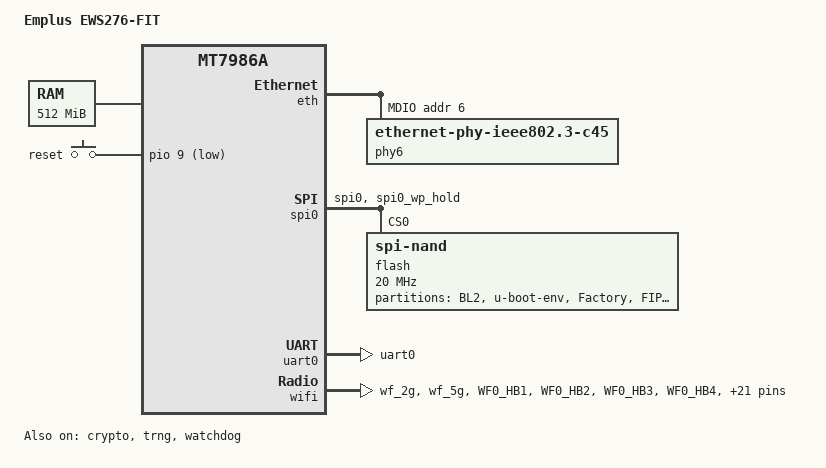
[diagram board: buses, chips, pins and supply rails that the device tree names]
// SPDX-License-Identifier: (GPL-2.0 OR MIT)

/dts-v1/;
#include <dt-bindings/gpio/gpio.h>
#include <dt-bindings/input/input.h>
#include <dt-bindings/pinctrl/mt65xx.h>
#include "mt7986a.dtsi"

/ {
	model = "Emplus EWS276-FIT";
	compatible = "emplus,ews276-fit", "mediatek,mt7986a";

	aliases {
		serial0 = &uart0;
		ethernet0 = &gmac1;
	};

	chosen {
		stdout-path = "serial0:115200n8";
		bootargs = "console=ttyS0,115200n1 earlycon=uart8250,mmio32,0x11002000";
		bootargs-append = " root=/dev/fit0 rootwait";
		rootdisk = <&ubi_fit>;
	};

	memory@40000000 {
		device_type = "memory";
		reg = <0 0x40000000 0 0x20000000>;
	};

	keys {
		compatible = "gpio-keys";

		reset {
			label = "reset";
			linux,code = <KEY_RESTART>;
			/* Schematic GPIO_4 (ball L21) is controller GPIO9. */
			gpios = <&pio 9 GPIO_ACTIVE_LOW>;
			debounce-interval = <50>;
		};
	};
};

&crypto {
	status = "okay";
};

&eth {
	status = "okay";

	/* The only connected Ethernet port uses GMAC1 and the GPY211C. */
	gmac1: mac@1 {
		compatible = "mediatek,eth-mac";
		reg = <1>;
		phy-mode = "2500base-x";
		phy-handle = <&phy6>;
	};

	mdio-bus {
		#address-cells = <1>;
		#size-cells = <0>;
		reset-gpios = <&pio 6 GPIO_ACTIVE_LOW>;
		reset-delay-us = <600>;
		reset-post-delay-us = <20000>;

		phy6: ethernet-phy@6 {
			compatible = "ethernet-phy-ieee802.3-c45";
			reg = <6>;
		};
	};
};

&pio {
	spi_flash_pins: spi-flash-pins {
		mux {
			function = "spi";
			groups = "spi0", "spi0_wp_hold";
		};
	};

	uart0_pins: uart0-pins {
		mux {
			function = "uart";
			groups = "uart0";
		};
	};

	wf_2g_5g_pins: wf-2g-5g-pins {
		mux {
			function = "wifi";
			groups = "wf_2g", "wf_5g";
		};

		conf {
			pins = "WF0_HB1", "WF0_HB2", "WF0_HB3", "WF0_HB4",
			       "WF0_HB0", "WF0_HB0_B", "WF0_HB5", "WF0_HB6",
			       "WF0_HB7", "WF0_HB8", "WF0_HB9", "WF0_HB10",
			       "WF0_TOP_CLK", "WF0_TOP_DATA", "WF1_HB1",
			       "WF1_HB2", "WF1_HB3", "WF1_HB4", "WF1_HB0",
			       "WF1_HB5", "WF1_HB6", "WF1_HB7", "WF1_HB8",
			       "WF1_TOP_CLK", "WF1_TOP_DATA";
			drive-strength = <MTK_DRIVE_4mA>;
		};
	};

	wf_dbdc_pins: wf-dbdc-pins {
		mux {
			function = "wifi";
			groups = "wf_dbdc";
		};

		conf {
			pins = "WF0_HB1", "WF0_HB2", "WF0_HB3", "WF0_HB4",
			       "WF0_HB0", "WF0_HB0_B", "WF0_HB5", "WF0_HB6",
			       "WF0_HB7", "WF0_HB8", "WF0_HB9", "WF0_HB10",
			       "WF0_TOP_CLK", "WF0_TOP_DATA", "WF1_HB1",
			       "WF1_HB2", "WF1_HB3", "WF1_HB4", "WF1_HB0",
			       "WF1_HB5", "WF1_HB6", "WF1_HB7", "WF1_HB8",
			       "WF1_TOP_CLK", "WF1_TOP_DATA";
			drive-strength = <MTK_DRIVE_4mA>;
		};
	};
};

&spi0 {
	pinctrl-names = "default";
	pinctrl-0 = <&spi_flash_pins>;
	status = "okay";

	flash@0 {
		compatible = "spi-nand";
		reg = <0>;
		spi-max-frequency = <20000000>;
		spi-tx-bus-width = <4>;
		spi-rx-bus-width = <4>;
		mediatek,nmbm;
		mediatek,bmt-max-ratio = <1>;
		mediatek,bmt-max-reserved-blocks = <256>;

		partitions {
			compatible = "fixed-partitions";
			#address-cells = <1>;
			#size-cells = <1>;

			partition@0 {
				label = "BL2";
				reg = <0x0 0x100000>;
				read-only;
			};
			partition@100000 {
				label = "u-boot-env";
				reg = <0x100000 0x80000>;
			};
			partition@180000 {
				label = "Factory";
				reg = <0x180000 0x200000>;
				read-only;
			};
			partition@380000 {
				label = "FIP";
				reg = <0x380000 0x200000>;
				read-only;
			};
			partition@580000 {
				compatible = "linux,ubi";
				label = "ubi";
				reg = <0x580000 0x6e00000>;
				volumes {
					ubi_fit: ubi-volume-fit {
						volname = "fit";
					};
				};
			};
			partition@7380000 {
				label = "ubi_1";
				reg = <0x7380000 0x6e00000>;
				read-only;
			};
			partition@e180000 {
				label = "ubootenv";
				reg = <0xe180000 0x80000>;
				read-only;
			};
			partition@e200000 {
				label = "cert";
				reg = <0xe200000 0x60000>;
				read-only;
			};
			partition@e260000 {
				label = "userconfig";
				reg = <0xe260000 0xa0000>;
				read-only;
			};
			partition@e300000 {
				label = "crashdump";
				reg = <0xe300000 0x60000>;
				read-only;
			};
		};
	};
};

&trng {
	status = "okay";
};

&uart0 {
	pinctrl-names = "default";
	pinctrl-0 = <&uart0_pins>;
	status = "okay";
};

&watchdog {
	status = "okay";
};

/* The board-specific package supplies the existing MT7975 EEPROM fallback. */
&wifi {
	status = "okay";
	pinctrl-names = "default", "dbdc";
	pinctrl-0 = <&wf_2g_5g_pins>;
	pinctrl-1 = <&wf_dbdc_pins>;
};
